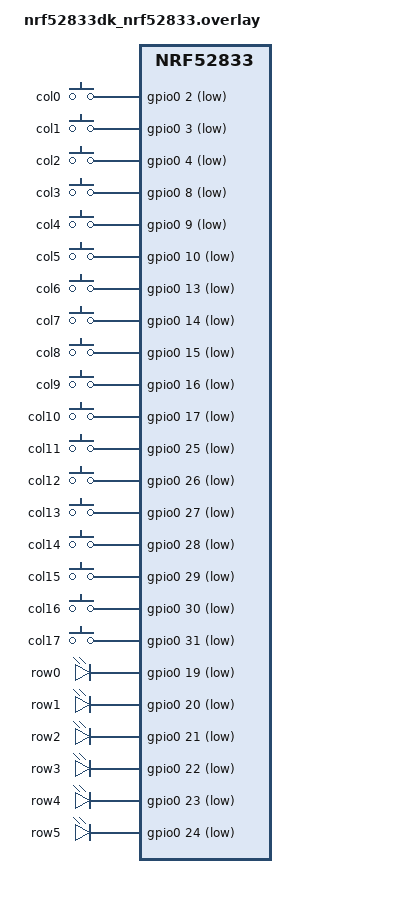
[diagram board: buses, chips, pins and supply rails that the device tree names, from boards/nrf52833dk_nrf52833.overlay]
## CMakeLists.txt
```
# SPDX-License-Identifier: Apache-2.0

cmake_minimum_required(VERSION 3.20.0)
find_package(Zephyr REQUIRED HINTS $ENV{ZEPHYR_BASE})
project(010keyboard_USB)

include(${ZEPHYR_BASE}/samples/subsys/usb/common/common.cmake)
# target_sources(app PRIVATE src/main.c)
# target_sources(app PRIVATE src/kb_misc.c)
# target_sources(app PRIVATE src/kb_misc.h)
# target_include_directories(app PRIVATE include)
target_sources(app PRIVATE src/main.c)
target_sources(app PRIVATE src/kb_misc.c)
target_include_directories(app PRIVATE include)
```

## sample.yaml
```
sample:
  name: USB HID keyboard sample
common:
  harness: button
  filter: dt_alias_exists("sw0") and dt_alias_exists("led0")
  depends_on:
    - usb_device
    - gpio
  platform_allow:
    - nrf52840dk/nrf52840
    - nrf54h20dk/nrf54h20/cpuapp
    - frdm_k64f
tests:
  sample.usbd.hid-keyboard:
    tags: usb
  sample.usbd.hid-keyboard.out-report:
    tags: usb
    extra_args:
      - EXTRA_DTC_OVERLAY_FILE="out_report.overlay"
  sample.usbd.hid-keyboard.large-report:
    tags: usb
    extra_args:
      - EXTRA_DTC_OVERLAY_FILE="large_in_report.overlay"
  sample.usbd.hid-keyboard.large-out-report:
    tags: usb
    extra_args:
      - EXTRA_DTC_OVERLAY_FILE="large_out_report.overlay"
```

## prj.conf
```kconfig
CONFIG_LOG=y
CONFIG_GPIO=y
CONFIG_CBPRINTF_FP_SUPPORT=y
CONFIG_RESET_ON_FATAL_ERROR=n

CONFIG_USB_DEVICE_STACK=y
CONFIG_USB_DEVICE_HID=y
CONFIG_USB_HID_DEVICE_COUNT=2
CONFIG_USB_DEVICE_PRODUCT="KEYBOARD"
CONFIG_USB_DEVICE_PID=0x0007
CONFIG_USB_DEVICE_INITIALIZE_AT_BOOT=n

CONFIG_USB_DRIVER_LOG_LEVEL_ERR=y
CONFIG_USB_DEVICE_LOG_LEVEL_ERR=y
# # CONFIG_SENSOR=y
# # CONFIG_INPUT=y
# CONFIG_PRINTK=y

CONFIG_USB_DEVICE_VID=0x1915

CONFIG_ENABLE_HID_INT_OUT_EP=y
# # CONFIG_KSCAN=y
CONFIG_DEBUG_OPTIMIZATIONS=y
# # CONFIG_NFCT_PINS_AS_GPIOS=y
CONFIG_NFCT_PINS_AS_GPIOS=y
```

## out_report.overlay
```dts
/*
 * Copyright (c) 2023 Nordic Semiconductor ASA
 *
 * SPDX-License-Identifier: Apache-2.0
 */

#include "app.overlay"

/ {
	hid_dev_0: hid_dev_0 {
		compatible = "zephyr,hid-device";
		out-report-size = <64>;
		out-polling-rate = <16000>;
	};
};
```

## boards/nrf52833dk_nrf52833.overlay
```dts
/*
 * Copyright (c) 2023 Nordic Semiconductor ASA
 *
 * SPDX-License-Identifier: Apache-2.0
 */

&i2c0 {	status = "disabled";};
&spi0 {	status = "disabled";};
&spi1 {	status = "disabled";};
&spi3 {	status = "disabled";};
&i2c1 {	status = "disabled";};
&uart1 {status = "disabled";};

&uicr {nfct-pins-as-gpios;};


/ {
// 	hid_dev_0: hid_dev_0 {
// 		compatible = "zephyr,hid-device";
// 		interface-name = "HID0";
// 		protocol-code = "keyboard";
// 		in-report-size = <64>;
// 		in-polling-rate = <1000>;
// 	};
	aliases {
	};
	button{
		compatible = "gpio-keys";
		col0: col0 {
			gpios = <&gpio0 2 (GPIO_ACTIVE_LOW | GPIO_PULL_DOWN)>;
			label = "col0";
			zephyr,code = <INPUT_KEY_0>;
		};
		col1: col1 {
			gpios = <&gpio0 3 (GPIO_ACTIVE_LOW | GPIO_PULL_DOWN)>;
			label = "col1";
			zephyr,code = <INPUT_KEY_0>;
		};
		col2: col2 {
			gpios = <&gpio0 4 (GPIO_ACTIVE_LOW | GPIO_PULL_DOWN)>;
			label = "col2";
			zephyr,code = <INPUT_KEY_0>;
		};
		col3: col3 {
			gpios = <&gpio0 8 (GPIO_ACTIVE_LOW | GPIO_PULL_DOWN)>;
			label = "col3";
			zephyr,code = <INPUT_KEY_0>;
		};
		col4: col4 {
			gpios = <&gpio0 9 (GPIO_ACTIVE_LOW | GPIO_PULL_DOWN)>;
			label = "col4";
			zephyr,code = <INPUT_KEY_0>;
		};
		col5: col5 {
			gpios = <&gpio0 10 (GPIO_ACTIVE_LOW | GPIO_PULL_DOWN)>;
			label = "col5";
			zephyr,code = <INPUT_KEY_0>;
		};
		col6: col6 {
			gpios = <&gpio0 13 (GPIO_ACTIVE_LOW | GPIO_PULL_DOWN)>;
			label = "col6";
			zephyr,code = <INPUT_KEY_0>;
		};
		col7: col7 {
			gpios = <&gpio0 14 (GPIO_ACTIVE_LOW | GPIO_PULL_DOWN)>;
			label = "col7";
			zephyr,code = <INPUT_KEY_0>;
		};
		col8: col8 {
			gpios = <&gpio0 15 (GPIO_ACTIVE_LOW | GPIO_PULL_DOWN)>;
			label = "col8";
			zephyr,code = <INPUT_KEY_0>;
		};
		col9: col9 {
			gpios = <&gpio0 16 (GPIO_ACTIVE_LOW | GPIO_PULL_DOWN)>;
			label = "col9";
			zephyr,code = <INPUT_KEY_0>;
		};
		col10: col10 {
			gpios = <&gpio0 17 (GPIO_ACTIVE_LOW | GPIO_PULL_DOWN)>;
			label = "col10";
			zephyr,code = <INPUT_KEY_0>;
		};
		col11: col11 {
			gpios = <&gpio0 25 (GPIO_ACTIVE_LOW | GPIO_PULL_DOWN)>;
			label = "col11";
			zephyr,code = <INPUT_KEY_0>;
		};
		col12: col12 {
			gpios = <&gpio0 26 (GPIO_ACTIVE_LOW | GPIO_PULL_DOWN)>;
			label = "col12";
			zephyr,code = <INPUT_KEY_0>;
		};
		col13: col13 {
			gpios = <&gpio0 27 (GPIO_ACTIVE_LOW | GPIO_PULL_DOWN)>;
			label = "col13";
			zephyr,code = <INPUT_KEY_0>;
		};
		col14: col14 {
			gpios = <&gpio0 28 (GPIO_ACTIVE_LOW | GPIO_PULL_DOWN)>;
			label = "col14";
			zephyr,code = <INPUT_KEY_0>;
		};
		col15: col15 {
			gpios = <&gpio0 29 (GPIO_ACTIVE_LOW | GPIO_PULL_DOWN)>;
			label = "col15";
			zephyr,code = <INPUT_KEY_0>;
		};
		col16: col16 {
			gpios = <&gpio0 30 (GPIO_ACTIVE_LOW | GPIO_PULL_DOWN)>;
			label = "col16";
			zephyr,code = <INPUT_KEY_0>;
		};
		col17: col17 {
			gpios = <&gpio0 31 (GPIO_ACTIVE_LOW | GPIO_PULL_DOWN)>;
			label = "col17";
			zephyr,code = <INPUT_KEY_0>;
		};
	};
	leds {
		compatible = "gpio-leds";
		row0: row0 {
			gpios = <&gpio0 19 GPIO_ACTIVE_LOW>;
			label = "row0";
		};
		row1: row1 {
			gpios = <&gpio0 20 GPIO_ACTIVE_LOW>;
			label = "row1";
		};
		row2: row2 {
			gpios = <&gpio0 21 GPIO_ACTIVE_LOW>;
			label = "row2";
		};
		row3: row3 {
			gpios = <&gpio0 22 GPIO_ACTIVE_LOW>;
			label = "row3";
		};
		row4: row4 {
			gpios = <&gpio0 23 GPIO_ACTIVE_LOW>;
			label = "row4";
		};
		row5: row5 {
			gpios = <&gpio0 24 GPIO_ACTIVE_LOW>;
			label = "row5";
		};
	};
};
```

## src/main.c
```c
// #include <sample_usbd.h>

#include <zephyr/kernel.h>
#include <zephyr/device.h>
#include <zephyr/drivers/gpio.h>
#include <zephyr/input/input.h>


#include <zephyr/logging/log.h>


#include <zephyr/usb/usb_device.h>
#include <zephyr/usb/class/usb_hid.h>
#include <zephyr/devicetree.h>


#include "kb_misc.h"



LOG_MODULE_REGISTER(main, LOG_LEVEL_INF);

static const uint8_t hid_report_desc[] = {				\
	HID_USAGE_PAGE(HID_USAGE_GEN_DESKTOP),			\
	HID_USAGE(HID_USAGE_GEN_DESKTOP_KEYBOARD),		\
	HID_COLLECTION(HID_COLLECTION_APPLICATION),		\
		HID_USAGE_PAGE(HID_USAGE_GEN_DESKTOP_KEYPAD),	\
		/* HID_USAGE_MINIMUM(Keyboard LeftControl) */	\
		HID_USAGE_MIN8(0xE0),				\
		/* HID_USAGE_MAXIMUM(Keyboard Right GUI) */	\
		HID_USAGE_MAX8(0xE7),				\
		HID_LOGICAL_MIN8(0),				\
		HID_LOGICAL_MAX8(1),				\
		HID_REPORT_SIZE(1),				\
		HID_REPORT_COUNT(8),				\
		/* HID_INPUT(Data,Var,Abs) */			\
		HID_INPUT(0x02),				\
		HID_REPORT_SIZE(8),				\
		HID_REPORT_COUNT(1),				\
		/* HID_INPUT(Cnst,Var,Abs) */			\
		HID_INPUT(0x03),				\
		HID_REPORT_SIZE(1),				\
		HID_REPORT_COUNT(5),				\
		HID_USAGE_PAGE(HID_USAGE_GEN_LEDS),		\
		/* HID_USAGE_MINIMUM(Num Lock) */		\
		HID_USAGE_MIN8(1),				\
		/* HID_USAGE_MAXIMUM(Kana) */			\
		HID_USAGE_MAX8(5),				\
		/* HID_OUTPUT(Data,Var,Abs) */			\
		HID_OUTPUT(0x02),				\
		HID_REPORT_SIZE(3),				\
		HID_REPORT_COUNT(1),				\
		/* HID_OUTPUT(Cnst,Var,Abs) */			\
		HID_OUTPUT(0x03),				\
		HID_REPORT_SIZE(8),				\
		//Change this variable to add more buttons in the report (Keep within the 64 byte limit for USB FS)
		HID_REPORT_COUNT(12),				\ 
		HID_LOGICAL_MIN8(0),				\
		HID_LOGICAL_MAX8(101),				\
		HID_USAGE_PAGE(HID_USAGE_GEN_DESKTOP_KEYPAD),	\
		/* HID_USAGE_MIN8(Reserved) */			\
		HID_USAGE_MIN8(0),				\
		/* HID_USAGE_MAX8(Keyboard Application) */	\
		HID_USAGE_MAX8(101),				\
		/* HID_INPUT (Data,Ary,Abs) */			\
		HID_INPUT(0x00),				\
	HID_END_COLLECTION,					\
};

enum kb_report_idx {
	KB_MOD_KEY = 0,
	KB_RESERVED,
	KB_KEY_CODE1,
	KB_KEY_CODE2,
	KB_KEY_CODE3,
	KB_KEY_CODE4,
	KB_KEY_CODE5,
	KB_KEY_CODE6,
	KB_KEY_CODE7,
	KB_KEY_CODE8,
	KB_KEY_CODE9,
	KB_KEY_CODE10,
	KB_KEY_CODE11,
	KB_KEY_CODE12,
	KB_REPORT_COUNT,
};

// static struct column_data {
//     const struct device *dev;
//     uint32_t pin;	
//     uint8_t index;
//     struct gpio_callback cb;
// };
static enum usb_dc_status_code usb_status;

static void status_cb(enum usb_dc_status_code status, const uint8_t *param)
{
    usb_status = status;
}


static const struct gpio_dt_spec row[] = 
{
    GPIO_DT_SPEC_GET(DT_NODELABEL(row0), gpios),
    GPIO_DT_SPEC_GET(DT_NODELABEL(row1), gpios),
    GPIO_DT_SPEC_GET(DT_NODELABEL(row2), gpios),
    GPIO_DT_SPEC_GET(DT_NODELABEL(row3), gpios),
	GPIO_DT_SPEC_GET(DT_NODELABEL(row4), gpios),
	GPIO_DT_SPEC_GET(DT_NODELABEL(row5), gpios),
};

static const struct gpio_dt_spec column[] = 
{
    GPIO_DT_SPEC_GET(DT_NODELABEL(col0), gpios),
    GPIO_DT_SPEC_GET(DT_NODELABEL(col1), gpios),
    GPIO_DT_SPEC_GET(DT_NODELABEL(col2), gpios),
    GPIO_DT_SPEC_GET(DT_NODELABEL(col3), gpios),
	GPIO_DT_SPEC_GET(DT_NODELABEL(col4), gpios),
	GPIO_DT_SPEC_GET(DT_NODELABEL(col5), gpios),
    GPIO_DT_SPEC_GET(DT_NODELABEL(col6), gpios),
    GPIO_DT_SPEC_GET(DT_NODELABEL(col7), gpios),
    GPIO_DT_SPEC_GET(DT_NODELABEL(col8), gpios),
    GPIO_DT_SPEC_GET(DT_NODELABEL(col9), gpios),
    GPIO_DT_SPEC_GET(DT_NODELABEL(col10), gpios),
    GPIO_DT_SPEC_GET(DT_NODELABEL(col11), gpios),
    GPIO_DT_SPEC_GET(DT_NODELABEL(col12), gpios),
    GPIO_DT_SPEC_GET(DT_NODELABEL(col13), gpios),
    GPIO_DT_SPEC_GET(DT_NODELABEL(col14), gpios),
    GPIO_DT_SPEC_GET(DT_NODELABEL(col15), gpios),
    GPIO_DT_SPEC_GET(DT_NODELABEL(col16), gpios),
    GPIO_DT_SPEC_GET(DT_NODELABEL(col17), gpios),
};
// static const struct gpio_dt_spec temp = GPIO_DT_SPEC_GET(DT_NODELABEL(led0), gpios);
// K_USEC(100)
struct k_timer my_timer;       //timer interrupt to execute scanning 




static void ALWAYS_INLINE config_row_column(void){
	// gpio_dev = device_get_binding("GPIO_0");
	for(uint8_t i = 0; i<ARRAY_SIZE(row);i++){
		if (!gpio_is_ready_dt(&row[i])) {
			printk("row[%d] could not configure",i);
			// return NULL;
		}
		gpio_pin_configure_dt(&row[i],GPIO_OUTPUT);
		
	}

	for(uint8_t i = 0; i<ARRAY_SIZE(column);i++){
		if (!gpio_is_ready_dt(&column[i])) {
			printk("column[%d] could not configure",i);
			// return NULL;
		}
		gpio_pin_configure_dt(&column[i],GPIO_INPUT|GPIO_PULL_UP);	
	}
}


uint32_t key_data[ROW];
K_MSGQ_DEFINE(key_data_msgq, sizeof(key_data), 2, 1);

void scan_row(void)
{	
	for(uint8_t row_val=0 ; row_val<ROW ; row_val++)
	{
		for(uint8_t j=0 ; j<ROW ; j++)
		{
			gpio_pin_set_dt(&row[j],0);
		}
		gpio_pin_set_dt(&row[row_val],1);
		/* Reading port value register as a whole and sending it to msgq */ 
		key_data[row_val] = *(uint32_t *)(GPIO_0_BASE_REG+GPIO_0_IN_OFFSET);
		// printk("keydata[%d] = %x\n",row_val, key_data[row_val]);
	}
	// printk("\n\n");
	if (k_msgq_put(&key_data_msgq, &key_data, K_NO_WAIT) != 0)
	{
		LOG_ERR("Failed to put new key_data_msgq input event");
	}
}

// // static uint8_t __aligned(sizeof(void *)) pre_report[KB_REPORT_COUNT] = {0,0,0,0,0,0,0,0};
static uint8_t pre_report[KB_NUMBER][KB_REPORT_COUNT];
K_MSGQ_DEFINE(report_msgq1, sizeof(pre_report[0]), 2, 1);
K_MSGQ_DEFINE(report_msgq2, sizeof(pre_report[0]), 2, 1);
bool volatile flag_msg = false;
// // extern uint8_t const modkey[];

void parse_row_data(void)
{
	
	bool volatile flag_modkey=false;
	uint32_t temp[ROW];
	k_msgq_get(&key_data_msgq, temp, K_FOREVER);
	// memset(pre_report, 0, sizeof(pre_report));
	for(uint8_t j = 0 ; j<KB_NUMBER ; j++){
		for(uint8_t i = 0 ; i<ARRAY_SIZE(pre_report[0]); i++){
			pre_report[j][i] = 0;
		}
	}
	// for(uint8_t i = 0 ; i<ARRAY_SIZE(pre_report); i++){
	// 		pre_report[i] = 0;
	// }
	for(uint8_t i = 0 ; i<ROW ; i++)
	{
		temp[i] = ~temp[i];
		if((temp[i] & 0xFE03E71C)!=0){
			flag_msg = true;
			for(uint8_t j = 0 ; j<COL ; j++)
			{
				// This variable stores the value after bitwise shifting the temp.
				uint32_t shift_store;
				shift_store =  temp[i] >> shift[j];
				if(shift_store & 0x00000001)
				{
					// This loop check is key pressed is a mod key
					for(uint8_t h = 0 ; h<8 ; h++)
					{
						if(keyboard_matrix[i][j]==modkey[h])
						{
							//set however many mod keys are pressed 
							pre_report[0][KB_MOD_KEY] |= 1<<h;
							pre_report[1][KB_MOD_KEY] |= 1<<h;
							flag_modkey = true;
							break;
						}
					}
					// if not a modkey, treat as a normal key
					bool flag_placeholder = false;
					if(!flag_modkey)
					{
						for(uint8_t h = KB_KEY_CODE1 ; h<KB_REPORT_COUNT ; h++)
						{
							for(uint8_t r = 0 ; r<KB_NUMBER ; r++){
								if(!pre_report[r][h])
								{
									pre_report[r][h] = keyboard_matrix[i][j];
									flag_placeholder = true;
									break;
								}
							}
							if(flag_placeholder){
								break;
							}
							// if(!pre_report[h])
							// {
							// 	pre_report[h] = keyboard_matrix[i][j];
							// 	break;
							// }
						}
					}		
				}
				flag_modkey = false;
			}
		}
	}
	
	if(flag_msg)
	{
		// for (uint8_t i = 0 ; i<KB_REPORT_COUNT ; i++){
		// 	printk("0x%X    ",pre_report[i]);
		// }
		// printk("\n\n");
		k_msgq_put(&report_msgq1,pre_report[0],K_NO_WAIT);
		k_msgq_put(&report_msgq2,pre_report[1],K_NO_WAIT);
		
	}
}



uint8_t report1[KB_REPORT_COUNT];
uint8_t  report2[KB_REPORT_COUNT];

int main(void)
{
	config_row_column();
	// -----------
	const struct device *hid_dev;
	const struct device *hid_dev2;
	// -----------
	#if defined(CONFIG_USB_DEVICE_STACK_NEXT)
	hid_dev1 = DEVICE_DT_GET_ONE(zephyr_hid_device);
	#else
	hid_dev = device_get_binding("HID_0");
	#endif

	#if defined(CONFIG_USB_DEVICE_STACK_NEXT)
	hid_dev2 = DEVICE_DT_GET_ONE(zephyr_hid_device);
	#else
	hid_dev2 = device_get_binding("HID_1");
	#endif
	// ------------
    if (!hid_dev)
	{
		LOG_ERR("Cannot get HID device"); 
		return 0;
	}
	if (!hid_dev2)
	{
		LOG_ERR("Cannot get HID device"); 
		return 0;
	}
	// ------------
	usb_hid_register_device(hid_dev, hid_report_desc, sizeof(hid_report_desc), NULL);
	usb_hid_init(hid_dev);

	usb_hid_register_device(hid_dev2, hid_report_desc, sizeof(hid_report_desc), NULL);
	usb_hid_init(hid_dev2);
	// ------------
	usb_enable(status_cb);

	k_timer_init(&my_timer,scan_row,NULL);
	k_timer_start(&my_timer,K_USEC(1000),K_USEC(500));



	while (true) {
		parse_row_data();
		if(flag_msg){
			k_msgq_get(&report_msgq1, &report1, K_FOREVER);
			k_msgq_get(&report_msgq2, &report2, K_FOREVER);
			hid_int_ep_write(hid_dev, report1, sizeof(report1), NULL);
			hid_int_ep_write(hid_dev2, report2, sizeof(report2), NULL);
		}




		// k_msleep(1000);

	}

	return 0;
}
```

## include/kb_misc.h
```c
/*Name Suggestions for keybord
* Horde
* Matrix
* Cluster
* Crew
* Nexus
* Troop
* Flock
* Armada
* Fleet
* Kaafila
*/

#ifndef KB_MISC_H
#define KB_MISC_H

#include <stdint.h>
#include <zephyr/kernel.h>
#include <zephyr/device.h>
#include <zephyr/drivers/gpio.h>


#define ROW         6
#define COL         18
#define KB_NUMBER   2


//relevant register addresses
#define GPIO_0_BASE_REG         0x50000000
#define GPIO_1_BASE_REG         0x50000300
#define GPIO_0_IN_OFFSET        0x510
#define UICR_BASE_REG           0x10001000
#define UICR_NFCPINS_OFFSET     0x20C


extern uint8_t keyboard_matrix[ROW][COL];

// const struct device *gpio_dev;
//Array containing modKeys








/*
https://usb.org/sites/default/files/hut1_5.pdf
*/
typedef enum {
    Reserved = 0x00,
    Keyboard_ErrorRollOver1 = 0x01,
    Keyboard_POSTFail1 = 0x02,
    Keyboard_ErrorUndefined1 = 0x03,
    Keyboard_a_and_A = 0x04,
    Keyboard_b_and_B = 0x05,
    Keyboard_c_and_C = 0x06,
    Keyboard_d_and_D = 0x07,
    Keyboard_e_and_E = 0x08,
    Keyboard_f_and_F = 0x09,
    Keyboard_g_and_G = 0x0A,
    Keyboard_h_and_H = 0x0B,
    Keyboard_i_and_I = 0x0C,
    Keyboard_j_and_J = 0x0D,
    Keyboard_k_and_K = 0x0E,
    Keyboard_l_and_L = 0x0F,
    Keyboard_m_and_M = 0x10,
    Keyboard_n_and_N = 0x11,
    Keyboard_o_and_O = 0x12,
    Keyboard_p_and_P = 0x13,
    Keyboard_q_and_Q = 0x14,
    Keyboard_r_and_R = 0x15,
    Keyboard_s_and_S = 0x16,
    Keyboard_t_and_T = 0x17,
    Keyboard_u_and_U = 0x18,
    Keyboard_v_and_V = 0x19,
    Keyboard_w_and_W = 0x1A,
    Keyboard_x_and_X = 0x1B,
    Keyboard_y_and_Y = 0x1C,
    Keyboard_z_and_Z = 0x1D,
    Keyboard_1_and_Exclamation = 0x1E,
    Keyboard_2_and_At = 0x1F,
    Keyboard_3_and_Hash = 0x20,
    Keyboard_4_and_Dollar = 0x21,
    Keyboard_5_and_Percent = 0x22,
    Keyboard_6_and_Caret = 0x23,
    Keyboard_7_and_Ampersand = 0x24,
    Keyboard_8_and_Asterisk = 0x25,
    Keyboard_9_and_LeftParen = 0x26,
    Keyboard_0_and_RightParen = 0x27,
    Keyboard_Return_ENTER = 0x28,
    Keyboard_ESCAPE = 0x29,
    Keyboard_DELETE_Backspace = 0x2A,
    Keyboard_Tab = 0x2B,
    Keyboard_Spacebar = 0x2C,
    Keyboard_Dash_and_Underscore = 0x2D,
    Keyboard_Equal_and_Plus = 0x2E,
    Keyboard_LeftBracket_and_LeftBrace = 0x2F,
    Keyboard_RightBracket_and_RightBrace = 0x30,
    Keyboard_Backslash_and_Pipe = 0x31,
    Keyboard_NonUS_Pound_and_Tilde = 0x32,
    Keyboard_Semicolon_and_Colon = 0x33,
    Keyboard_Quote_and_DoubleQuote = 0x34,
    Keyboard_GraveAccent_and_Tilde = 0x35,
    Keyboard_Comma_and_LessThan = 0x36,
    Keyboard_Period_and_GreaterThan = 0x37,
    Keyboard_Slash_and_Question = 0x38,
    Keyboard_CapsLock = 0x39,
    Keyboard_F1 = 0x3A,
    Keyboard_F2 = 0x3B,
    Keyboard_F3 = 0x3C,
    Keyboard_F4 = 0x3D,
    Keyboard_F5 = 0x3E,
    Keyboard_F6 = 0x3F,
    Keyboard_F7 = 0x40,
    Keyboard_F8 = 0x41,
    Keyboard_F9 = 0x42,
    Keyboard_F10 = 0x43,
    Keyboard_F11 = 0x44,
    Keyboard_F12 = 0x45,
    Keyboard_PrintScreen = 0x46,
    Keyboard_ScrollLock = 0x47,
    Keyboard_Pause = 0x48,
    Keyboard_Insert = 0x49,
    Keyboard_Home = 0x4A,
    Keyboard_PageUp = 0x4B,
    Keyboard_Delete_Forward = 0x4C,
    Keyboard_End = 0x4D,
    Keyboard_PageDown = 0x4E,
    Keyboard_RightArrow = 0x4F,
    Keyboard_LeftArrow = 0x50,
    Keyboard_DownArrow = 0x51,
    Keyboard_UpArrow = 0x52,
    Keypad_NumLock_and_Clear = 0x53,
    Keypad_Slash = 0x54,
    Keypad_Asterisk = 0x55,
    Keypad_Dash = 0x56,
    Keypad_Plus = 0x57,
    Keypad_ENTER = 0x58,
    Keypad_1_and_End = 0x59,
    Keypad_2_and_DownArrow = 0x5A,
    Keypad_3_and_PageDn = 0x5B,
    Keypad_4_and_LeftArrow = 0x5C,
    Keypad_5 = 0x5D,
    Keypad_6_and_RightArrow = 0x5E,
    Keypad_7_and_Home = 0x5F,
    Keypad_8_and_UpArrow = 0x60,
    Keypad_9_and_PageUp = 0x61,
    Keypad_0_and_Insert = 0x62,
    Keypad_Period_and_Delete = 0x63,
    Keyboard_NonUS_Backslash_and_Pipe = 0x64,
    Keyboard_Application = 0x65,
    Keyboard_Power = 0x66,
    Keypad_Equal = 0x67,
    Keyboard_F13 = 0x68,
    Keyboard_F14 = 0x69,
    Keyboard_F15 = 0x6A,
    Keyboard_F16 = 0x6B,
    Keyboard_F17 = 0x6C,
    Keyboard_F18 = 0x6D,
    Keyboard_F19 = 0x6E,
    Keyboard_F20 = 0x6F,
    Keyboard_F21 = 0x70,
    Keyboard_F22 = 0x71,
    Keyboard_F23 = 0x72,
    Keyboard_F24 = 0x73,
    Keyboard_Execute = 0x74,
    Keyboard_Help = 0x75,
    Keyboard_Menu = 0x76,
    Keyboard_Select = 0x77,
    Keyboard_Stop = 0x78,
    Keyboard_Again = 0x79,
    Keyboard_Undo = 0x7A,
    Keyboard_Cut = 0x7B,
    Keyboard_Copy = 0x7C,
    Keyboard_Paste = 0x7D,
    Keyboard_Find = 0x7E,
    Keyboard_Mute = 0x7F,
    Keyboard_VolumeUp = 0x80,
    Keyboard_VolumeDown = 0x81,
    Keyboard_Locking_CapsLock = 0x82,
    Keyboard_Locking_NumLock = 0x83,
    Keyboard_Locking_ScrollLock = 0x84,
    Keypad_Comma = 0x85,
    Keypad_EqualSign = 0x86,
    Keyboard_International1 = 0x87,
    Keyboard_International2 = 0x88,
    Keyboard_International3 = 0x89,
    Keyboard_International4 = 0x8A,
    Keyboard_International5 = 0x8B,
    Keyboard_International6 = 0x8C,
    Keyboard_International7 = 0x8D,
    Keyboard_International8 = 0x8E,
    Keyboard_International9 = 0x8F,
    Keyboard_LANG1 = 0x90,
    Keyboard_LANG2 = 0x91,
    Keyboard_LANG3 = 0x92,
    Keyboard_LANG4 = 0x93,
    Keyboard_LANG5 = 0x94,
    Keyboard_LANG6 = 0x95,
    Keyboard_LANG7 = 0x96,
    Keyboard_LANG8 = 0x97,
    Keyboard_LANG9 = 0x98,
    Keyboard_AlternateErase = 0x99,
    Keyboard_SysReq_Attention = 0x9A,
    Keyboard_Cancel = 0x9B,
    Keyboard_Clear = 0x9C,
    Keyboard_Prior = 0x9D,
    Keyboard_Return = 0x9E,
    Keyboard_Separator = 0x9F,
    Keyboard_Out = 0xA0,
    Keyboard_Oper = 0xA1,
    Keyboard_ClearAgain = 0xA2,
    Keyboard_CrSel_Props = 0xA3,
    Keyboard_ExSel = 0xA4,
    Keypad_00 = 0xB0,
    Keypad_000 = 0xB1,
    ThousandsSeparator = 0xB2,
    DecimalSeparator = 0xB3,
    CurrencyUnit = 0xB4,
    CurrencySubUnit = 0xB5,
    Keypad_LeftParen = 0xB6,
    Keypad_RightParen = 0xB7,
    Keypad_LeftBrace = 0xB8,
    Keypad_RightBrace = 0xB9,
    Keypad_Tab = 0xBA,
    Keypad_Backspace = 0xBB,
    Keypad_A = 0xBC,
    Keypad_B = 0xBD,
    Keypad_C = 0xBE,
    Keypad_D = 0xBF,
    Keypad_E = 0xC0,
    Keypad_F = 0xC1,
    Keypad_XOR = 0xC2,
    Keypad_Caret = 0xC3,
    Keypad_Percent = 0xC4,
    Keypad_LessThan = 0xC5,
    Keypad_GreaterThan = 0xC6,
    Keypad_Ampersand = 0xC7,
    Keypad_DoubleAmpersand = 0xC8,
    Keypad_Pipe = 0xC9,
    Keypad_DoublePipe = 0xCA,
    Keypad_Colon = 0xCB,
    Keypad_Hash = 0xCC,
    Keypad_Space = 0xCD,
    Keypad_At = 0xCE,
    Keypad_Exclamation = 0xCF,
    Keypad_MemoryStore = 0xD0,
    Keypad_MemoryRecall = 0xD1,
    Keypad_MemoryClear = 0xD2,
    Keypad_MemoryAdd = 0xD3,
    Keypad_MemorySubtract = 0xD4,
    Keypad_MemoryMultiply = 0xD5,
    Keypad_MemoryDivide = 0xD6,
    Keypad_PlusMinus = 0xD7,
    Keypad_Clear = 0xD8,
    Keypad_ClearEntry = 0xD9,
    Keypad_Binary = 0xDA,
    Keypad_Octal = 0xDB,
    Keypad_Decimal = 0xDC,
    Keypad_Hexadecimal = 0xDD,
    Reserved_DE = 0xDE,
    Reserved_DF = 0xDF,
    Keyboard_LeftControl = 0xE0,
    Keyboard_LeftShift = 0xE1,
    Keyboard_LeftAlt = 0xE2,
    Keyboard_LeftGUI = 0xE3,
    Keyboard_RightControl = 0xE4,
    Keyboard_RightShift = 0xE5,
    Keyboard_RightAlt = 0xE6,
    Keyboard_RightGUI = 0xE7,
} KeyboardUsageID;

extern uint8_t const modkey[];
extern uint8_t const shift[];
#endif
```

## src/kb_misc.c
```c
#include <stdint.h>
#include "kb_misc.h"


//initialise this to 0 initially when doing init
uint8_t keyboard_matrix[ROW][COL]={
    {Keyboard_ESCAPE, Keyboard_F1, Keyboard_F2, Keyboard_F3, Keyboard_F4, Keyboard_F5, Keyboard_F6,Keyboard_F7,Keyboard_F8,Keyboard_F9,Keyboard_F10,Keyboard_F11,Keyboard_F12,Keyboard_DELETE_Backspace,0,0,0,0},
    {Keyboard_GraveAccent_and_Tilde,Keyboard_1_and_Exclamation,Keyboard_2_and_At,Keyboard_3_and_Hash,Keyboard_4_and_Dollar,Keyboard_5_and_Percent,Keyboard_6_and_Caret,Keyboard_7_and_Ampersand,Keyboard_8_and_Asterisk,Keyboard_9_and_LeftParen,Keyboard_0_and_RightParen,Keyboard_Dash_and_Underscore,Keyboard_Equal_and_Plus,Keypad_Backspace,Keyboard_Insert,0,0,0},
    {Keypad_Tab,Keyboard_q_and_Q,Keyboard_w_and_W,Keyboard_e_and_E,Keyboard_r_and_R,Keyboard_t_and_T,Keyboard_y_and_Y,Keyboard_u_and_U,Keyboard_i_and_I,Keyboard_o_and_O,Keyboard_p_and_P,Keyboard_LeftBracket_and_LeftBrace,Keyboard_RightBracket_and_RightBrace,Keyboard_Backslash_and_Pipe,Keyboard_End,0,0,0},
    {Keyboard_CapsLock,Keyboard_a_and_A,Keyboard_s_and_S,Keyboard_d_and_D,Keyboard_f_and_F,Keyboard_g_and_G,Keyboard_h_and_H,Keyboard_j_and_J,Keyboard_k_and_K,Keyboard_l_and_L,Keyboard_Semicolon_and_Colon,Keyboard_Quote_and_DoubleQuote,Keyboard_Return_ENTER,Keyboard_PageUp,0,0,0,0},
    {Keyboard_LeftShift,Keyboard_z_and_Z,Keyboard_x_and_X,Keyboard_c_and_C,Keyboard_v_and_V,Keyboard_b_and_B,Keyboard_n_and_N,Keyboard_m_and_M,Keyboard_Comma_and_LessThan,Keyboard_Period_and_GreaterThan,Keyboard_Slash_and_Question,Keyboard_RightShift,Keyboard_UpArrow,Keyboard_PageDown,0,0,0,0},
    {Keyboard_LeftControl,Keyboard_Home,Keyboard_LeftAlt,Keyboard_Spacebar,Keyboard_RightAlt,Keyboard_RightControl,Keyboard_LeftArrow,Keyboard_DownArrow,Keyboard_RightArrow,0,0,0,0,0,0,0,0,0}
};

/*
 * American ANSI Keyboard Layout (Resembling Kreo Hive)
 *
 * ,--------------------------------------------------------------------.-----------------------------------
 * |  Esc |  F1 |  F2 |  F3 |  F4 |  F5 |  F6 |  F7 |  F8 |  F9 | F10  | F11 | F12 |  Del |      (vol) 
 * |--------------------------------------------------------------------|
 * |  ~  |  1  |  2  |  3  |  4  |  5  |  6  |  7  |  8  |  9  |  0  |  -  |  =  | Backspace |    |  Ins |
 * |--------------------------------------------------------------------|
 * |  Tab  |  Q  |  W  |  E  |  R  |  T  |  Y  |  U  |  I  |  O  |  P  |  [  |  ]  |    \   |     | End |
 * |--------------------------------------------------------------------|
 * | Caps  |  A  |  S  |  D  |  F  |  G  |  H  |  J  |  K  |  L  |  ;  |  '  |   Enter    |       | PgUp |
 * |--------------------------------------------------------------------|
 * | Shift  |  Z  |  X  |  C  |  V  |  B  |  N  |  M  |  ,  |  .  |  /  |  Shift    |  ↑  |       | PgUp |
 * |--------------------------------------------------------------------|
 * | Ctrl | Win | Alt |         Space          | Alt | Fn | Ctrl |            | ←  | ↓  | →  |
 * `--------------------------------------------------------------------'-----------------------------------
 */

uint8_t const modkey[]={Keyboard_LeftControl,Keyboard_LeftShift,Keyboard_LeftAlt,Keyboard_LeftGUI,
                        Keyboard_RightControl,Keyboard_RightShift,Keyboard_RightAlt,Keyboard_RightGUI};

uint8_t const shift[]=  {2,3,4,8,9,10,13,14,15,16,17,25,26,27,28,29,30,31};
```
